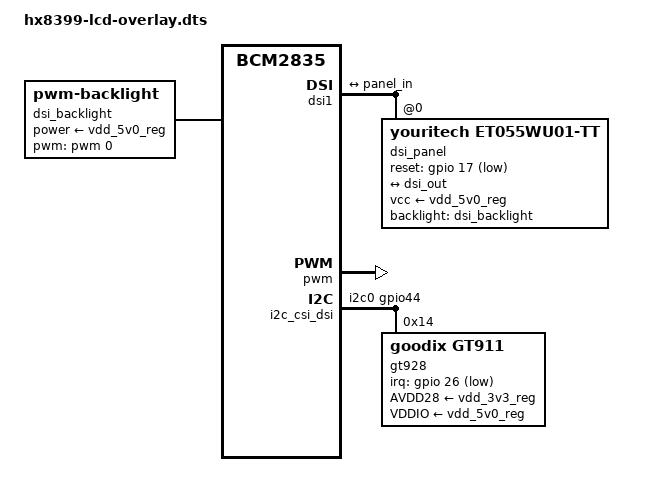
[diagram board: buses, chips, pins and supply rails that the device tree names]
/dts-v1/;
/plugin/;

#include <dt-bindings/gpio/gpio.h>

/ {
	compatible = "brcm,bcm2835";

	fragment@0 {
		target = <&dsi1>;
		__overlay__ {
			#address-cells = <1>;
			#size-cells = <0>;
			status = "okay";

			port {
				dsi_out: endpoint {
					remote-endpoint = <&panel_in>;
				};
			};

			dsi_panel: dsi_panel@0 {
				compatible = "youritech,et055wu01-tt";
				reg = <0>;
				vcc-supply = <&vdd_5v0_reg>;
				reset-gpios = <&gpio 17 GPIO_ACTIVE_LOW>; // LCD_RST
				backlight = <&dsi_backlight>;

				port {
					panel_in: endpoint {
						remote-endpoint = <&dsi_out>;
					};
				};
			};
		};
	};

	fragment@1 {
		target = <&gpio>;
		__overlay__ {
			pwm0_pins: pwm0_pins {
				brcm,pins = <12>;
				brcm,function = <4>; /* Alt0 */
			};
		};
	};

	fragment@2 {
		target = <&pwm>;
		__overlay__ {
			pinctrl-names = "default";
			pinctrl-0 = <&pwm0_pins>;
			assigned-clock-rates = <50000>;
			status = "okay";
		};
	};

	fragment@3 {
		target-path = "/";
		__overlay__ {
			dsi_backlight: dsi_backlight {
				compatible = "pwm-backlight";
				brightness-levels = <0 6 8 12 16 24 32 40 48 64 96 128 160 192 224 255>;
				default-brightness-level = <15>;
				pwms = <&pwm 0 50000 0>;
				power-supply = <&vdd_5v0_reg>;
				status = "okay";
			};
		 };
	};

	fragment@5 {
		target = <&i2c_csi_dsi>;
		__overlay__ {
			status = "okay";
			pinctrl-0 = <&i2c0_gpio44>;
		 };
	};

	fragment@6 {
		target = <&i2c_csi_dsi>;
		__overlay__ {
			status = "okay";

			gt928@14 {
				compatible = "goodix,gt911";
				reg = <0x14>;
				AVDD28-supply  = <&vdd_3v3_reg>;
				VDDIO-supply  = <&vdd_5v0_reg>;
				irq-gpios = <&gpio 26 GPIO_ACTIVE_LOW>; // INT0
				status = "okay";
				touchscreen-size-x = <1080>;
				touchscreen-size-y = <1980>;
				touchscreen-x-mm = <68>;
				touchscreen-y-mm = <120>;
			};
		 };
	};
};
